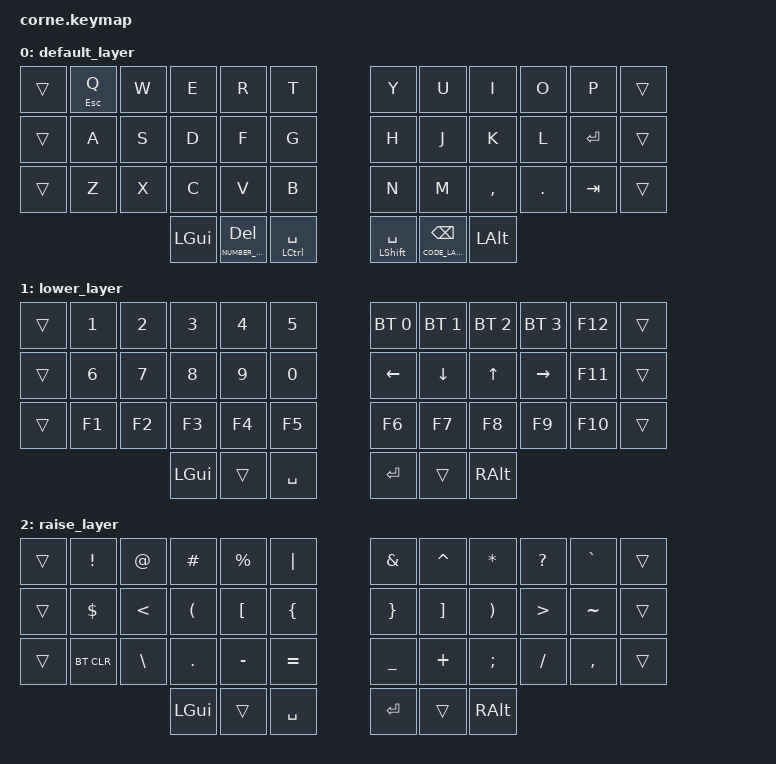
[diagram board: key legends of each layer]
/*
 * Copyright (c) 2020 The ZMK Contributors
 *
 * SPDX-License-Identifier: MIT
 */

#include <behaviors.dtsi>
#include <dt-bindings/zmk/keys.h>
#include <dt-bindings/zmk/bt.h>

#define DEFAULT 0
#define NUMBER_LAYER   1
#define CODE_LAYER   2

/ {
        keymap {
                compatible = "zmk,keymap";

                default_layer {
// -----------------------------------------------------------------------------------------
//     |  Q /ESC |  W  |  E  |  R  |  T |              |  Y  |  U   |  I  |  O  |  P   |
//     |  A  |  S  |  D  |  F  |  G |              |  H  |  J   |  K  |  L  |  ENT |
//     |  Z  |  X  |  C  |  V  |  B |              |  N  |  M   |  ,  |  .  |  TAB |
//                     | WIN/CMD | LWR | SPC/CTRL |   |   SPC/LSHFT  | RSE  | ALT |
                        bindings = <
&trans  &mt ESC Q &kp W &kp E &kp R &kp T               &kp Y &kp U  &kp I     &kp O   &kp P    &trans
&trans  &kp A     &kp S &kp D &kp F &kp G               &kp H &kp J  &kp K     &kp L   &kp RET  &trans
&trans  &kp Z     &kp X &kp C &kp V &kp B               &kp N &kp M  &kp COMMA &kp DOT &kp TAB  &trans
        &kp LGUI &lt NUMBER_LAYER DEL &mt LEFT_CONTROL SPACE    &mt LEFT_SHIFT SPACE &lt CODE_LAYER BSPC &kp LALT
                        >;
                };
                lower_layer {
// ----------------------------------- NUMBER LAYER ------------------------------------------------
//     |  1  |  2  |  3  |  4  |  5  |         | BT1 | BT2 | BT3 | BT4 | F12 |
//     |  6  |  7  |  8  |  9  |  0  |         | LFT | DWN |  UP | RGT | F11 | 
//     | F1  | F2  | F3  | F4  | F5  |         | F6  | F7  | F8  | F9  | F10 |
//                    | GUI |     | SPC |   | ENT |     | ALT |
                        bindings = <
&trans  &kp N1 &kp N2 &kp N3 &kp N4 &kp N5     &bt BT_SEL 0 &bt BT_SEL 1 &bt BT_SEL 2 &bt BT_SEL 3 &kp F12 &trans
&trans  &kp N6 &kp N7 &kp N8 &kp N9 &kp N0     &kp LEFT     &kp DOWN     &kp UP       &kp RIGHT    &kp F11 &trans
&trans  &kp F1 &kp F2 &kp F3 &kp F4 &kp F5     &kp F6       &kp F7       &kp F8       &kp F9       &kp F10 &trans
                 &kp LGUI &trans &kp SPACE   &kp RET &trans &kp RALT
                        >;
                };

                raise_layer {
// ---------------------------------- CODE LAYER ---------------------------------------------
//    |  !  |  @  |  #  |  %  | "|" |   |  &  |  ^  |  *  |  ?  |  `  |
//    |  $  |  <  |  (  |  [  |  {  |   |  }  |  ]  |  )  |  >  |  ~  |
//    |BTCLR|  \  |  .  |  -  |  =  |   |  _  |  +  |  ;  |  /  |  ,  |
//                       | GUI |     | SPC |   | ENT |     | ALT |
                        bindings = <
&trans  &kp EXCL  &kp AT   &kp HASH &kp PRCNT &kp PIPE        &kp AMPS  &kp CARET &kp ASTRK &kp QMARK &kp GRAVE &trans
&trans  &kp DLLR  &kp LT   &kp LPAR &kp LBKT  &kp LBRC        &kp RBRC  &kp RBKT  &kp RPAR  &kp GT    &kp TILDE &trans
&trans  &bt BT_CLR &kp BSLH &kp DOT  &kp MINUS &kp EQUAL       &kp UNDER &kp PLUS  &kp SEMI  &kp SLASH &kp COMMA &trans
                               &kp LGUI &trans &kp SPACE   &kp RET   &trans    &kp RALT
                        >;
                };
        };
};
